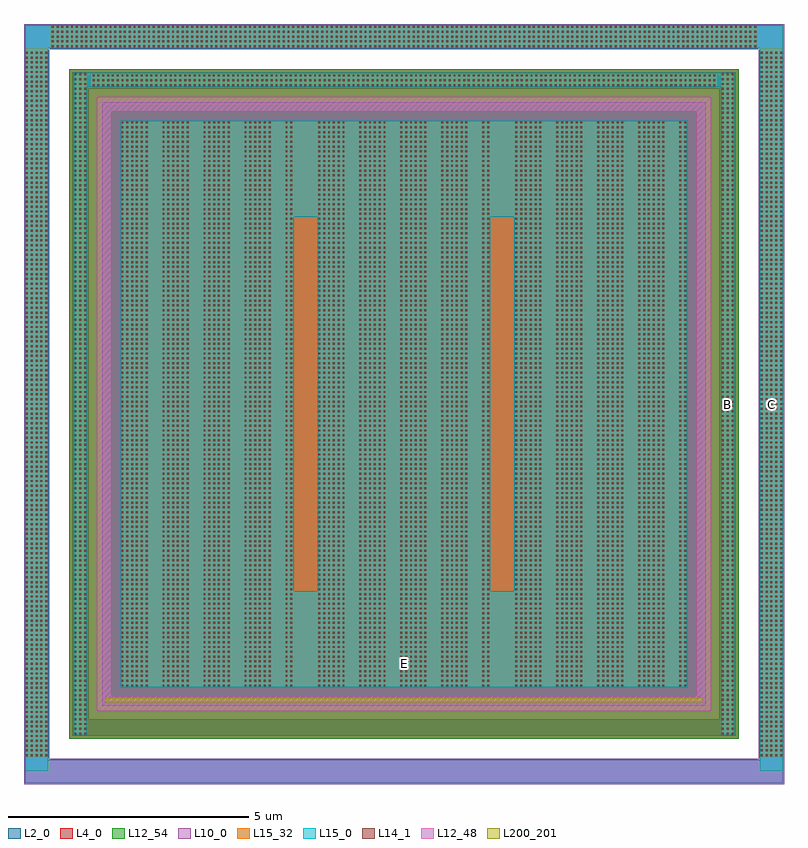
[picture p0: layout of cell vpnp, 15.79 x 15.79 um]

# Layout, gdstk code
import gdstk
lib = gdstk.Library(unit=1e-6, precision=1e-09)
def R(c, l, rs):  # rectangles x0, y0, x1, y1
    for r in rs: c.add(gdstk.rectangle(r[:2], r[2:], *l))
def A(c, l, x, y, w, h, nx, ny, dx, dy):  # array of equal rectangles
    R(c, l, [(x+i*dx, y+j*dy, x+i*dx+w, y+j*dy+h) for i in range(nx) for j in range(ny)])
L2_0 = (2, 0)
L4_0 = (4, 0)
L10_0 = (10, 0)
L12_48 = (12, 48)
L12_54 = (12, 54)
L14_1 = (14, 1)
L15_0 = (15, 0)
L15_32 = (15, 32)
L200_201 = (200, 201)

vpnp = lib.new_cell('vpnp')
R(vpnp, L2_0, [(-14.379,-6.409,1.373,-5.929), (-14.379,-5.929,-13.899,8.863), (0.893,-5.929,1.373,8.863), (-13.399,-5.429,0.393,-5.089), (-13.399,-5.089,-13.059,8.023), (0.053,-5.089,0.393,8.023), (-12.703,-4.733,-0.303,7.667), (-13.399,8.023,0.393,8.363), (-14.379,8.863,1.373,9.343)])
R(vpnp, L4_0, [(-13.455,-5.485,0.449,8.419)])
R(vpnp, L10_0, [(-14.4,-6.43,1.394,-5.908), (-14.4,-5.908,-13.878,8.842), (0.872,-5.908,1.394,8.842), (-12.773,-4.803,-0.233,7.737), (-14.4,8.842,1.394,9.364)])
R(vpnp, L12_48, [(-12.884,-4.914,-0.122,-4.608), (-12.884,-4.608,-12.578,7.542), (-0.428,-4.608,-0.122,7.542), (-12.884,7.542,-0.122,7.848)])
R(vpnp, L12_54, [(-13.455,-5.485,0.449,8.419)])
A(vpnp, L14_1, -14.359, -5.853, 0.04, 0.04, 5, 147, 0.1, 0.1)
A(vpnp, L14_1, 0.913, -5.853, 0.04, 0.04, 5, 147, 0.1, 0.1)
A(vpnp, L14_1, -13.349, -5.403, 0.04, 0.04, 3, 138, 0.1, 0.1)
A(vpnp, L14_1, 0.103, -5.403, 0.04, 0.04, 3, 138, 0.1, 0.1)
A(vpnp, L14_1, -12.373, -4.403, 0.04, 0.04, 6, 118, 0.1, 0.1)
A(vpnp, L14_1, -11.521, -4.403, 0.04, 0.04, 6, 118, 0.1, 0.1)
A(vpnp, L14_1, -10.669, -4.403, 0.04, 0.04, 6, 118, 0.1, 0.1)
A(vpnp, L14_1, -9.817, -4.403, 0.04, 0.04, 6, 118, 0.1, 0.1)
A(vpnp, L14_1, -8.965, -4.403, 0.04, 0.04, 1, 118, 0, 0.1)
A(vpnp, L14_1, -8.865, -4.403, 0.04, 0.04, 1, 118, 0, 0.1)
A(vpnp, L14_1, -8.281, -4.403, 0.04, 0.04, 6, 118, 0.1, 0.1)
A(vpnp, L14_1, -7.429, -4.403, 0.04, 0.04, 6, 118, 0.1, 0.1)
A(vpnp, L14_1, -6.577, -4.403, 0.04, 0.04, 6, 118, 0.1, 0.1)
A(vpnp, L14_1, -5.725, -4.403, 0.04, 0.04, 6, 118, 0.1, 0.1)
A(vpnp, L14_1, -4.873, -4.403, 0.04, 0.04, 1, 118, 0, 0.1)
A(vpnp, L14_1, -4.773, -4.403, 0.04, 0.04, 1, 118, 0, 0.1)
A(vpnp, L14_1, -4.189, -4.403, 0.04, 0.04, 6, 118, 0.1, 0.1)
A(vpnp, L14_1, -3.337, -4.403, 0.04, 0.04, 6, 118, 0.1, 0.1)
A(vpnp, L14_1, -2.485, -4.403, 0.04, 0.04, 6, 118, 0.1, 0.1)
A(vpnp, L14_1, -1.633, -4.403, 0.04, 0.04, 6, 118, 0.1, 0.1)
A(vpnp, L14_1, -0.781, -4.403, 0.04, 0.04, 1, 118, 0, 0.1)
A(vpnp, L14_1, -0.681, -4.403, 0.04, 0.04, 1, 118, 0, 0.1)
A(vpnp, L14_1, -12.973, 8.073, 0.04, 0.04, 130, 3, 0.1, 0.1)
A(vpnp, L14_1, -13.823, 8.883, 0.04, 0.04, 147, 5, 0.1, 0.1)
A(vpnp, L15_0, -12.391, -2.421, 3.592, 7.776, 3, 1, 4.092, 0)
R(vpnp, L15_0, [(-14.377,-6.169,-13.901,9.341), (0.895,-6.169,1.371,9.341), (-13.367,-5.421,-13.091,8.355), (0.085,-5.421,0.361,8.355), (-12.391,-4.421,-0.615,-2.421), (-12.391,5.355,-0.615,7.355), (-13.091,8.055,0.085,8.355), (-13.901,8.865,0.895,9.341)])
R(vpnp, L15_32, [(-14.377,-5.871,-13.901,8.865), (0.895,-5.871,1.371,8.865), (-13.367,-5.421,-13.091,8.355), (0.085,-5.421,0.361,8.355), (-12.391,-4.421,-0.615,7.355), (-12.991,8.055,-0.015,8.331), (-13.841,8.865,0.835,9.341)])
R(vpnp, L200_201, [(-12.703,-4.733,-0.303,-4.633)])
vpnp.add(gdstk.Label('E', (-6.503,-3.921), layer=15, texttype=20))
vpnp.add(gdstk.Label('B', (0.223,1.467), layer=15, texttype=20))
vpnp.add(gdstk.Label('C', (1.133,1.467), layer=15, texttype=20))

lib.write_gds('vpnp.gds')
